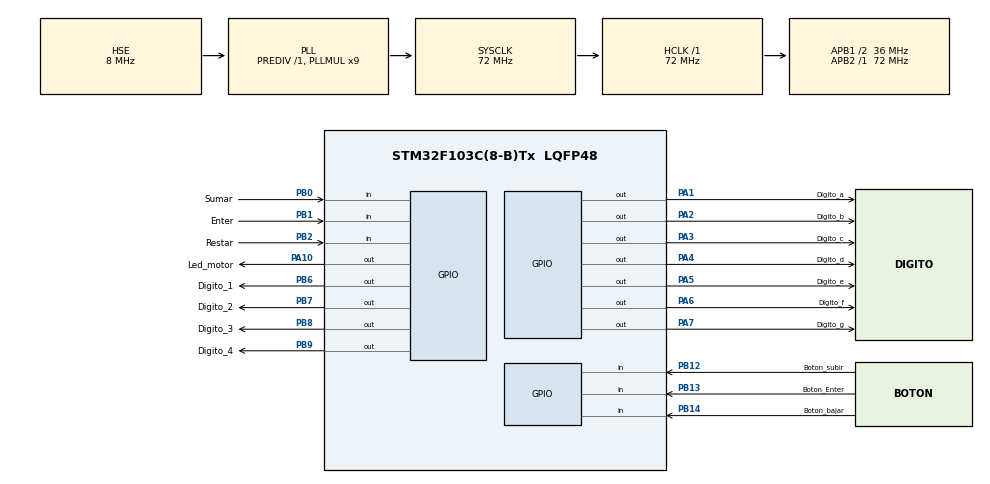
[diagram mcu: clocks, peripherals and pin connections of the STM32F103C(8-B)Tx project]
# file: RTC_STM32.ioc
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Mcu.Family=STM32F1
Mcu.Name=STM32F103C(8-B)Tx
Mcu.Package=LQFP48
NVIC.PriorityGroup=NVIC_PRIORITYGROUP_4
PA1.GPIO_Label=Digito_a
PA1.Signal=GPIO_Output
PA10.GPIO_Label=Led_motor
PA10.Signal=GPIO_Output
PA13.Mode=Serial_Wire
PA13.Signal=SYS_JTMS-SWDIO
PA14.Mode=Serial_Wire
PA14.Signal=SYS_JTCK-SWCLK
PA2.GPIO_Label=Digito_b
PA2.Signal=GPIO_Output
PA3.GPIO_Label=Digito_c
PA3.Signal=GPIO_Output
PA4.GPIO_Label=Digito_d
PA4.Signal=GPIO_Output
PA5.GPIO_Label=Digito_e
PA5.Signal=GPIO_Output
PA6.GPIO_Label=Digito_f
PA6.Signal=GPIO_Output
PA7.GPIO_Label=Digito_g
PA7.Signal=GPIO_Output
PB0.GPIO_Label=Sumar
PB0.Signal=GPIO_Input
PB1.GPIO_Label=Enter
PB1.Signal=GPIO_Input
PB12.GPIO_Label=Boton_subir
PB12.Signal=GPIO_Input
PB13.GPIO_Label=Boton_Enter
PB13.Signal=GPIO_Input
PB14.GPIO_Label=Boton_bajar
PB14.Signal=GPIO_Input
PB2.GPIO_Label=Restar
PB2.Signal=GPIO_Input
PB6.GPIO_Label=Digito_1
PB6.Signal=GPIO_Output
PB7.GPIO_Label=Digito_2
PB7.Signal=GPIO_Output
PB8.GPIO_Label=Digito_3
PB8.Signal=GPIO_Output
PB9.GPIO_Label=Digito_4
PB9.Signal=GPIO_Output
PD0-OSC_IN.Mode=HSE-External-Oscillator
PD0-OSC_IN.Signal=RCC_OSC_IN
PD1-OSC_OUT.Mode=HSE-External-Oscillator
PD1-OSC_OUT.Signal=RCC_OSC_OUT
ProjectManager.HeapSize=0x200
ProjectManager.StackSize=0x400
ProjectManager.TargetToolchain=MDK-ARM V5
RCC.AHBFreq_Value=72000000
RCC.APB1CLKDivider=RCC_HCLK_DIV2
RCC.APB1Freq_Value=36000000
RCC.APB1TimFreq_Value=72000000
RCC.APB2Freq_Value=72000000
RCC.APB2TimFreq_Value=72000000
RCC.HCLKFreq_Value=72000000
RCC.PLLMUL=RCC_PLL_MUL9
RCC.PLLSourceVirtual=RCC_PLLSOURCE_HSE
RCC.SYSCLKFreq_VALUE=72000000
RCC.SYSCLKSource=RCC_SYSCLKSOURCE_PLLCLK
RCC.USBFreq_Value=72000000
RTC.AsynchPrediv=RTC_AUTO_1_SECOND
RTC.AutoPrediv=RTC_AUTO_1_SECOND
RTC.Date=16
RTC.Hours=18
RTC.Minutes=11
RTC.Month=RTC_MONTH_MARCH
RTC.Year=20
VP_RTC_No_RTC_Output.Mode=RTC_OUT_NO
VP_RTC_VS_RTC_Activate.Mode=RTC_Enabled
VP_RTC_VS_RTC_Calendar.Mode=RTC_Calendar
board=custom

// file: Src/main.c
/* USER CODE BEGIN Header */
/**
  ******************************************************************************
  * @file           : main.c
  * @brief          : Main program body
  ******************************************************************************
  * @attention
  *
  * <h2><center>&copy; Copyright (c) 2020 STMicroelectronics.
  * All rights reserved.</center></h2>
  *
  * This software component is licensed by ST under BSD 3-Clause license,
  * the "License"; You may not use this file except in compliance with the
  * License. You may obtain a copy of the License at:
  *                        opensource.org/licenses/BSD-3-Clause
  *
  ******************************************************************************
  */
/* USER CODE END Header */

#include "stdio.h"
#include "main.h"
#include "stdlib.h"
#include "string.h"
#include "stdarg.h"
#include "stm32f1xx_hal.h"

/* USER CODE BEGIN PTD */
	RTC_TimeTypeDef	sTime1;
	RTC_DateTypeDef sDate1;

/* USER CODE END PTD */

	RTC_HandleTypeDef hrtc;

	uint8_t buffer_dias[10];
	uint8_t buffer_tiempo[10];
	uint16_t buffer_addres[10];
	uint8_t Minutos;
	uint8_t Horas;
	uint8_t digito1_hora_alarma, digito2_hora_alarma;
	uint8_t digito1_minuto_alarma, digito2_minuto_alarma;
	int EstadoActualSumar, Boton_subir, EstadoActualSubir, unidades;
	int EstadoAnteriorSubir;
	int Encendido_Menu2;
	uint8_t EstadoActualMenu;
	uint8_t  EstadoAnteriorMenu;
	uint8_t EstadoActualModificacion,  EstadoAnteriorModificacion;
	int salir, set_rtc, Menu, Encendido_Menu, Encendido_Modificacion;
	int enceder, apagar, contador;

	uint8_t digitos[20];

	// *************************************************************
	// ****crear base de datos para mostar en Display 7 segmento****
	// ***************************************************************

	uint16_t BaseDatosled [10] = {0x007E, 0x000C, 0x00B6, 0x009E, 0x00CC, 0x00DA, 0x00F8, 0x000E, 0x00FE, 0x00CE};

	// end

	void SystemClock_Config(void);
	static void MX_GPIO_Init(void);
	static void MX_RTC_Init(void);

	uint8_t BCD_a_DEC(uint8_t data);
	uint8_t DEC_a_BCD(uint8_t data);

/* USER CODE BEGIN PFP */

	//*****************************
	//*** gestion de funciones ****
	//*****************************

	// ***************************************************************
	// ****Funcion a HAL_RTC para set fecha y hora	 	          ****
	// ***************************************************************

	void Set_time( )
		{
			sTime1.Hours = DEC_a_BCD(Horas);
			sTime1.Minutes = DEC_a_BCD(Minutos);
			HAL_RTC_SetTime ( &hrtc, &sTime1, RTC_FORMAT_BCD);

		}

	// ***************************************************************
	// ****Funcion a HAL_RTC para ver fecha y hora			      ****
	// ***************************************************************

	void Get_rtc()
		{

			HAL_RTC_GetTime(&hrtc, &sTime1, RTC_FORMAT_BCD);
			HAL_RTC_GetDate(&hrtc, &sDate1, RTC_FORMAT_BCD);

			digitos[0] = (BCD_a_DEC(sDate1.Date) / 10);
			digitos[1] = (BCD_a_DEC(sDate1.Date) % 10);
			digitos[3] = (BCD_a_DEC(sDate1.Month) / 10);
			digitos[4] = (BCD_a_DEC(sDate1.Month) % 10);
			digitos[8] = (BCD_a_DEC(sDate1.Year) / 10);
			digitos[9] = (BCD_a_DEC(sDate1.Year) % 10);
			digitos[11] = (BCD_a_DEC(sTime1.Hours) / 10);
			digitos[12] = (BCD_a_DEC(sTime1.Hours) % 10);
			digitos[14] = (BCD_a_DEC(sTime1.Minutes) / 10);
			digitos[15] = (BCD_a_DEC(sTime1.Minutes) % 10);
			digitos[17] = (BCD_a_DEC(sTime1.Seconds) / 10);
			digitos[18] = (BCD_a_DEC(sTime1.Seconds) % 10);
			Horas = BCD_a_DEC(sTime1.Hours);
			Minutos = BCD_a_DEC(sTime1.Minutes);

		}
			 //end

	//*****************************************************************
	//*********  Dispaly                                     **********
	//*****************************************************************
	void Siete_segmento ()
		{

			GPIOA->ODR = buffer_tiempo[3]; //Displaying 1
			GPIOB->ODR = buffer_addres[0];
			HAL_Delay(5);

			GPIOA->ODR = buffer_tiempo[2]; //Displaying 2
			GPIOB->ODR = buffer_addres[1];
			HAL_Delay(5);

			GPIOA->ODR = buffer_tiempo[1]; //Displaying 3
			GPIOB->ODR = buffer_addres[2];
			HAL_Delay(5);

			GPIOA->ODR = buffer_tiempo[0]; //Displaying 4
			GPIOB->ODR = buffer_addres[3];
			HAL_Delay(5);

		}

	// ***************************************************************
	// ****Funcion para visualizar Hora y minutos                 ****
	// ***************************************************************
		//void encender_display ()

	void visualizar_Horas_minutos()
		{
			uint16_t digito1;

			buffer_tiempo[0] = ~(BaseDatosled[digitos[11]]); //Digito hora
			buffer_tiempo[1] = ~(BaseDatosled[digitos[12]]);
			buffer_tiempo[2] = ~(BaseDatosled[digitos[14]]);
			buffer_tiempo[3] = ~(BaseDatosled[digitos[15]]);

			buffer_addres[0] = 0x0040;   //configura la direccion de los 7 segmento
			buffer_addres[1] = 0x0080;
			buffer_addres[2] = 0x0100;
			buffer_addres[3] = 0x0200;

			Siete_segmento ();

		}
		 //end

	// *****************************************************************
	// ****          Funcion para visualizar  segundos		    ********
	// *****************************************************************

	void segundos ( )
		{

			buffer_tiempo[0] = ~(BaseDatosled[digitos[17]]); //Digito hora
			buffer_tiempo[1] = ~(BaseDatosled[digitos[18]]);
			buffer_tiempo[2] = ~(BaseDatosled[digitos[17]]);
			buffer_tiempo[3] = ~(BaseDatosled[digitos[18]]);

			buffer_addres[0] = 0x0040;   //configura la direccion de los 7 segmento
			buffer_addres[1] = 0x0080;
			buffer_addres[2] = 0x0000;
			buffer_addres[3] = 0x0000;

			Siete_segmento ();

		}

	// ***************************************************************
	// ****          Funcion para visualizar  Alarma  	      ********
	// ***************************************************************

	void  alarma ( )
		{
			buffer_tiempo[0] = BCD_a_DEC(0x00) ;
			buffer_tiempo[1] = BCD_a_DEC(0x00) ;
			buffer_tiempo[2] = BCD_a_DEC(0x00) ;
		  	buffer_tiempo[3] = BCD_a_DEC(0x00) ;

		  	buffer_addres[0] = 0x0040;   //configura la direccion de los 7 segmento
			buffer_addres[1] = 0x0080;
			buffer_addres[2] = 0x0100;
			buffer_addres[3] = 0x0200;

		    Siete_segmento();

		}

	// ***************************************************************
	// ****          Funcion para Modificar Hora	          ********
	// ***************************************************************
	void Modificar_Hora ( )
		{
			buffer_tiempo[7] = digitos[14];
			buffer_tiempo[6] = digitos[15];
			buffer_tiempo[5] = digitos[12];
			buffer_tiempo[4] = digitos[11];

			while (salir != 1)
			//while (1)
				{

					if (enceder == 1 && apagar == 0)
						{
							buffer_tiempo[0] = ~(BaseDatosled[buffer_tiempo[4]]); //Digito hora
							buffer_tiempo[1] = ~(BaseDatosled[buffer_tiempo[5]]);
							buffer_tiempo[2] = ~(BaseDatosled[buffer_tiempo[6]]);
							buffer_tiempo[3] = ~(BaseDatosled[buffer_tiempo[7]]);

							buffer_addres[0] = 0x0040;   //configura la direccion de los 7 segmento
							buffer_addres[1] = 0x0080;
							buffer_addres[2] = 0x0100;
							buffer_addres[3] = 0x0200;

							Siete_segmento();

							contador ++;

							if (contador > 10)
								{
									enceder = 0;
									apagar = 1;
									contador = 0;
								}

						}

					if (enceder == 0 && apagar == 1)

						{

							buffer_tiempo[0] = ~(BaseDatosled[buffer_tiempo[4]]); //Digito hora
							buffer_tiempo[1] = ~(BaseDatosled[buffer_tiempo[5]]);
							buffer_tiempo[2] = ~(BaseDatosled[buffer_tiempo[6]]);
							buffer_tiempo[3] = ~(BaseDatosled[buffer_tiempo[7]]);

							buffer_addres[0] = 0x0040;
							buffer_addres[1] = 0x0080;
							buffer_addres[2] = 0x0000;
							buffer_addres[3] = 0x0000;

							Siete_segmento ();

							contador ++;

							if (contador > 10)
							{
								enceder = 1;
								apagar = 0;
								contador = 0;
							}
						}

					EstadoActualSubir = HAL_GPIO_ReadPin(GPIOB, Boton_subir_Pin);

					if ( EstadoActualSubir == 1 )
						{
							EstadoAnteriorSubir = EstadoActualSubir;

						}

					if ( EstadoActualSubir == 0 && EstadoAnteriorSubir == 1)
						{
					//if (unidades == 1)
					//	{
							//digitos [11] = digitos [11] ++;
							Horas++ ;
						//	unidades = 0;
							EstadoAnteriorSubir = EstadoActualSubir;
						//}
					/*else
						{
							//digitos[12] = digitos[12]++;
							Horas++ ;

							//if ( digitos[12] == 9)
								{
									unidades = 1;
									digitos [12] =0;

								}*/
						//}
						}
			/*else
				{
					unidades = 0;
				}*/

					buffer_tiempo[6] = ((Horas) / 10);
					buffer_tiempo[7] = ((Horas) % 10);
					if (~(HAL_GPIO_ReadPin(GPIOB, Boton_bajar_Pin))== 1) //        Boton_modificar == 1)
								{
									Set_time();

									salir = 1;
									Menu = 0;
								}

				}

		}

	// ***************************************************************
	// ****          Funcion para Modificar Minutos		      ********
 	// ***************************************************************

	void Modificar_minuto ( )
		{
			buffer_tiempo[0] = ~(BaseDatosled[digitos[11]]); //Digito hora
			buffer_tiempo[1] = ~(BaseDatosled[digitos[12]]);
			buffer_tiempo[2] = ~(BaseDatosled[digitos[14]]);
			buffer_tiempo[3] = ~(BaseDatosled[digitos[15]]);

			if (enceder == 1 && apagar == 0)
				{
					buffer_addres[0] = 0x0040;   //configura la direccion de los 7 segmento
					buffer_addres[1] = 0x0080;
					buffer_addres[2] = 0x0100;
					buffer_addres[3] = 0x0200;

					Siete_segmento();

					contador ++;

					if (contador > 10)
					{
						enceder = 0;
						apagar = 1;
						contador = 0;
					}
				}

			if (enceder == 0 && apagar == 1)
				{

					buffer_addres[0] = 0x0000;
					buffer_addres[1] = 0x0000;
					buffer_addres[2] = 0x0100;
					buffer_addres[3] = 0x0200;

					Siete_segmento ();

					contador ++;

					if (contador > 10)
						{
							enceder = 1;
							apagar = 0;
							contador = 0;
						}
				}

			EstadoActualSubir = HAL_GPIO_ReadPin(GPIOB, Boton_subir_Pin);//Boton_subir;

			if ( EstadoActualSubir == 0 )
				{
					if (unidades == 1)
						{
							digitos [11] = digitos [11] ++;
							Minutos++ ;
						}
					else
						{
							digitos[12] = digitos[12]++;
							Minutos++;

							if ( digitos[12] == 9)
								{
									unidades = 1;
									digitos [12] =0;

								}
						}
				}
			else
				{
					unidades = 0;
				}

		}

	//*****************************
	//*** gestion de Pantallas ****
	//*****************************
	void Pantallas ()
		{

			switch (Menu)
				{
					case 0:
							salir = 0;

							visualizar_Horas_minutos( ); //Pantalla principal
					break;

					case 1:
							segundos ( ); //Pantalla segundos
					break;

					case 2:
							alarma ( ); // Pantalla de Alarma

					break ;

					case 3:
							Menu = 0;
					break;

					case 4:

							Modificar_Hora ( ); // Pantalla Modificar Hora

					break;

					case 5:
							Modificar_minuto ( ); //Pantalla Modificar Minutos

					break;

				}

		}

		//***************************
		//*** gestion de botones ****
		//***************************

		void Pulsadores()
			{

				EstadoActualMenu = HAL_GPIO_ReadPin(GPIOB, Boton_Enter_Pin);    		//Enter_Pin   //Boton_menu;

				if ( HAL_GPIO_ReadPin(GPIOB, Boton_Enter_Pin) == 0 && EstadoActualMenu == 0 && EstadoAnteriorMenu == 1 && Menu < 4)
					{
						if (Encendido_Menu == 0)
							{
								Menu ++;
								EstadoAnteriorMenu = EstadoActualMenu;
								Encendido_Menu = 1;
							}
					}

				if ( HAL_GPIO_ReadPin(GPIOB, Boton_Enter_Pin) == 0 && EstadoActualMenu == 0 && EstadoAnteriorMenu == 1 && Menu == 4)

					{
						if (Encendido_Menu2 == 0)
							{
								Menu ++;
								EstadoAnteriorMenu = EstadoActualMenu;
								Encendido_Menu2 = 1;
							}
					}

				if ( HAL_GPIO_ReadPin(GPIOB, Boton_Enter_Pin) == 0 && EstadoActualMenu == 0 && EstadoAnteriorMenu == 1 && Menu == 5)

					{
						if (Encendido_Menu2 == 0)

							{
								Menu --;
								EstadoAnteriorMenu = EstadoActualMenu;
								Encendido_Menu2 = 1;
							}
					}

				if (EstadoActualMenu== 1 && EstadoAnteriorMenu == 0 && HAL_GPIO_ReadPin(GPIOB, Boton_Enter_Pin) == 1)
					{

 						EstadoAnteriorMenu = 1;
						Encendido_Menu = 0;
						Encendido_Menu2 = 0;

					}

				EstadoActualModificacion = (HAL_GPIO_ReadPin(GPIOB, Boton_bajar_Pin));//Boton_modif;
				if (HAL_GPIO_ReadPin(GPIOB, Boton_bajar_Pin) == 0 && EstadoActualModificacion ==  0 && EstadoAnteriorModificacion == 1)
					{
						if (Encendido_Modificacion == 0 && Menu == 0)
							{

								Menu = 4;
								Encendido_Modificacion = 1;
								enceder = 1;
								apagar = 0;
							}

						 if (Encendido_Modificacion == 0 && Menu == 4)
							{

								Menu = 0;
								Encendido_Modificacion = 1;
							}

					 	if (Encendido_Modificacion == 0 && Menu == 5)
							{

								Menu = 0;
								Encendido_Modificacion = 1;
							}

						EstadoAnteriorModificacion = EstadoActualModificacion ;

					}

				if ( EstadoActualModificacion ==  1 && EstadoAnteriorModificacion == 0 && HAL_GPIO_ReadPin(GPIOB, Boton_bajar_Pin) == 1)
					{
						/*if (Encendido_Modificacion == 1)
						{*/
						EstadoAnteriorModificacion = 1 ;
						Encendido_Modificacion = 0;

						//}
					}

			}

	// ***************************************************************
	// ****Funcionpara encender led o motor a una hora determinada****
	// ***************************************************************

	void encender_led()
		{
			if(sTime1.Hours == 0x18)
				{
					if(sTime1.Minutes == 0x12)
						{
							if(sTime1.Seconds == 0x00)
								{

									//HAL_GPIO_TogglePin(GPIOC, GPIO_PIN_13);
									HAL_GPIO_WritePin(GPIOA, Led_motor_Pin, GPIO_PIN_SET);

									HAL_Delay(1000);
								}
						}

				}

			if(sTime1.Hours == 0x18)
				{
					if(sTime1.Minutes == 0x50)
						{
							if (sTime1.Seconds == 0x10)
								{

									//HAL_GPIO_TogglePin(GPIOC, GPIO_PIN_13);
									HAL_GPIO_WritePin(GPIOA, Led_motor_Pin, GPIO_PIN_RESET);

									HAL_Delay(1000);
								}
						}

				}

		}
		 //end

	// add function to convert  bcd to decimal and decimal to bcd

	// ***************************************************************
	// ****Funcion para convertir BCD a decimal o decimal a BCD	  ****
	// ***************************************************************

	uint8_t BCD_a_DEC(uint8_t data){			// BCD to Decimal
	return (data>>4)*10+(data&0x0F);
	}

	uint8_t DEC_a_BCD(uint8_t data){			// Decimal to BCD
	return (data/10)<<4 | (data%10);
	}

	//end
/* USER CODE END PFP */

	int main(void)
		{
  /* USER CODE BEGIN 1 */

	// RTC_DateTypeDef sDate1;

  /* USER CODE END 1 */

  /* MCU Configuration--------------------------------------------------------*/

  /* Reset of all peripherals, Initializes the Flash interface and the Systick. */
  HAL_Init();

  /* Configure the system clock */
  SystemClock_Config();

  /* Initialize all configured peripherals */
  MX_GPIO_Init();
  MX_RTC_Init();

  /* Infinite loop */
  		while (1)
  			{

				Get_rtc();

				Pantallas ();

				Pulsadores();

				encender_led();

			//HAL_UART_Transmit(huart1, (uint8_t *) _out, strlen(_out), 10);
			//HAL_UART_Transmit(&huart1, (uint8_t *) buffer_dias, 10, 10);
			//HAL_UART_Transmit(&huart1, (uint8_t *) buffer_tiempo, 10, 10);
			char newline[2] = "\r\n";
			//HAL_UART_Transmit(&huart1, (uint8_t *) newline, 2, 10);
			//HAL_Delay(1000);

  }
}

void SystemClock_Config(void)
{
  RCC_OscInitTypeDef RCC_OscInitStruct = {0};
  RCC_ClkInitTypeDef RCC_ClkInitStruct = {0};
  RCC_PeriphCLKInitTypeDef PeriphClkInit = {0};

  /** Initializes the CPU, AHB and APB busses clocks
  */
  RCC_OscInitStruct.OscillatorType = RCC_OSCILLATORTYPE_LSI|RCC_OSCILLATORTYPE_HSE;
  RCC_OscInitStruct.HSEState = RCC_HSE_ON;
  RCC_OscInitStruct.HSEPredivValue = RCC_HSE_PREDIV_DIV1;
  RCC_OscInitStruct.HSIState = RCC_HSI_ON;
  RCC_OscInitStruct.LSIState = RCC_LSI_ON;
  RCC_OscInitStruct.PLL.PLLState = RCC_PLL_ON;
  RCC_OscInitStruct.PLL.PLLSource = RCC_PLLSOURCE_HSE;
  RCC_OscInitStruct.PLL.PLLMUL = RCC_PLL_MUL9;
  if (HAL_RCC_OscConfig(&RCC_OscInitStruct) != HAL_OK)
  {
    Error_Handler();
  }
  /** Initializes the CPU, AHB and APB busses clocks
  */
  RCC_ClkInitStruct.ClockType = RCC_CLOCKTYPE_HCLK|RCC_CLOCKTYPE_SYSCLK
                              |RCC_CLOCKTYPE_PCLK1|RCC_CLOCKTYPE_PCLK2;
  RCC_ClkInitStruct.SYSCLKSource = RCC_SYSCLKSOURCE_PLLCLK;
  RCC_ClkInitStruct.AHBCLKDivider = RCC_SYSCLK_DIV1;
  RCC_ClkInitStruct.APB1CLKDivider = RCC_HCLK_DIV2;
  RCC_ClkInitStruct.APB2CLKDivider = RCC_HCLK_DIV1;

  if (HAL_RCC_ClockConfig(&RCC_ClkInitStruct, FLASH_LATENCY_2) != HAL_OK)
  {
    Error_Handler();
  }
  PeriphClkInit.PeriphClockSelection = RCC_PERIPHCLK_RTC;
  PeriphClkInit.RTCClockSelection = RCC_RTCCLKSOURCE_LSI;
  if (HAL_RCCEx_PeriphCLKConfig(&PeriphClkInit) != HAL_OK)
  {
    Error_Handler();
  }
}

static void MX_RTC_Init(void)
{

  RTC_TimeTypeDef sTime = {0};
  RTC_DateTypeDef DateToUpdate = {0};

  /** Initialize RTC Only
  */
  hrtc.Instance = RTC;
  hrtc.Init.AsynchPrediv = RTC_AUTO_1_SECOND;
  hrtc.Init.OutPut = RTC_OUTPUTSOURCE_NONE;
  if (HAL_RTC_Init(&hrtc) != HAL_OK)
  {
    Error_Handler();
  }

  /** Initialize RTC and set the Time and Date
  */
  sTime.Hours = 0x18;
  sTime.Minutes = 0x11;
  sTime.Seconds = 0x0;

  if (HAL_RTC_SetTime(&hrtc, &sTime, RTC_FORMAT_BCD) != HAL_OK)
  {
    Error_Handler();
  }
  DateToUpdate.WeekDay = RTC_WEEKDAY_MONDAY;
  DateToUpdate.Month = RTC_MONTH_MARCH;
  DateToUpdate.Date = 0x16;
  DateToUpdate.Year = 0x20;

  if (HAL_RTC_SetDate(&hrtc, &DateToUpdate, RTC_FORMAT_BCD) != HAL_OK)
  {
    Error_Handler();
  }

}

static void MX_GPIO_Init(void)
{
  GPIO_InitTypeDef GPIO_InitStruct = {0};

  /* GPIO Ports Clock Enable */
  __HAL_RCC_GPIOC_CLK_ENABLE();
  __HAL_RCC_GPIOD_CLK_ENABLE();
  __HAL_RCC_GPIOA_CLK_ENABLE();
  __HAL_RCC_GPIOB_CLK_ENABLE();

  /*Configure GPIO pin Output Level */
  HAL_GPIO_WritePin(GPIOA, Digito_a_Pin|Digito_b_Pin|Digito_c_Pin|Digito_d_Pin
                          |Digito_e_Pin|Digito_f_Pin|Digito_g_Pin|Led_motor_Pin, GPIO_PIN_RESET);

  /*Configure GPIO pin Output Level */
  HAL_GPIO_WritePin(GPIOB, Digito_1_Pin|Digito_2_Pin|Digito_3_Pin|Digito_4_Pin, GPIO_PIN_RESET);

  /*Configure GPIO pins : PC13 PC14 PC15 */
  GPIO_InitStruct.Pin = GPIO_PIN_13|GPIO_PIN_14|GPIO_PIN_15;
  GPIO_InitStruct.Mode = GPIO_MODE_ANALOG;
  HAL_GPIO_Init(GPIOC, &GPIO_InitStruct);

  /*Configure GPIO pins : PA0 PA8 PA9 PA11
                           PA12 PA15 */
  GPIO_InitStruct.Pin = GPIO_PIN_0|GPIO_PIN_8|GPIO_PIN_9|GPIO_PIN_11
                          |GPIO_PIN_12|GPIO_PIN_15;
  GPIO_InitStruct.Mode = GPIO_MODE_ANALOG;
  HAL_GPIO_Init(GPIOA, &GPIO_InitStruct);

  /*Configure GPIO pins : Digito_a_Pin Digito_b_Pin Digito_c_Pin Digito_d_Pin
                           Digito_e_Pin Digito_f_Pin Digito_g_Pin Led_motor_Pin */
  GPIO_InitStruct.Pin = Digito_a_Pin|Digito_b_Pin|Digito_c_Pin|Digito_d_Pin
                          |Digito_e_Pin|Digito_f_Pin|Digito_g_Pin|Led_motor_Pin;
  GPIO_InitStruct.Mode = GPIO_MODE_OUTPUT_PP;
  GPIO_InitStruct.Pull = GPIO_NOPULL;
  GPIO_InitStruct.Speed = GPIO_SPEED_FREQ_LOW;
  HAL_GPIO_Init(GPIOA, &GPIO_InitStruct);

  /*Configure GPIO pins : Sumar_Pin Enter_Pin Restar_Pin Boton_subir_Pin
                           Boton_Enter_Pin Boton_bajar_Pin */
  GPIO_InitStruct.Pin = Sumar_Pin|Enter_Pin|Restar_Pin|Boton_subir_Pin
                          |Boton_Enter_Pin|Boton_bajar_Pin;
  GPIO_InitStruct.Mode = GPIO_MODE_INPUT;
  GPIO_InitStruct.Pull = GPIO_NOPULL;
  HAL_GPIO_Init(GPIOB, &GPIO_InitStruct);

  /*Configure GPIO pins : PB10 PB11 PB15 PB3
                           PB4 PB5 */
  GPIO_InitStruct.Pin = GPIO_PIN_10|GPIO_PIN_11|GPIO_PIN_15|GPIO_PIN_3
                          |GPIO_PIN_4|GPIO_PIN_5;
  GPIO_InitStruct.Mode = GPIO_MODE_ANALOG;
  HAL_GPIO_Init(GPIOB, &GPIO_InitStruct);

  /*Configure GPIO pins : Digito_1_Pin Digito_2_Pin Digito_3_Pin Digito_4_Pin */
  GPIO_InitStruct.Pin = Digito_1_Pin|Digito_2_Pin|Digito_3_Pin|Digito_4_Pin;
  GPIO_InitStruct.Mode = GPIO_MODE_OUTPUT_PP;
  GPIO_InitStruct.Pull = GPIO_NOPULL;
  GPIO_InitStruct.Speed = GPIO_SPEED_FREQ_LOW;
  HAL_GPIO_Init(GPIOB, &GPIO_InitStruct);

}

void Error_Handler(void)
{
}

/************************ (C) COPYRIGHT STMicroelectronics *****END OF FILE****/
